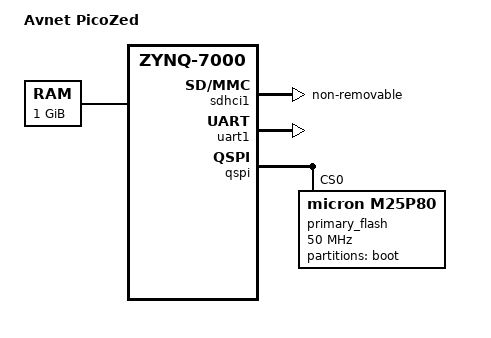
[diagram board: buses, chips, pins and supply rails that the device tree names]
/dts-v1/;
/include/ "zynq-7000.dtsi"

/ {
	model = "Avnet PicoZed";
	compatible = "avnet,picozed", "xlnx,zynq-7000";

	aliases {
		serial0 = &uart1;
	};

	memory@0 {
		device_type = "memory";
		reg = <0x0 0x40000000>;
	};

	chosen {
		bootargs = "earlyprintk";
		stdout-path = "serial0:115200n8";
	};

};

&sdhci1 {
	status = "okay";
	/* SD1 is onnected to a non-removable eMMC flash device */
	non-removable;
};

&uart1 {
	status = "okay";
};


&qspi {
	status = "okay";
	primary_flash: ps7-qspi@0 {
		#address-cells = <1>;
		#size-cells = <1>;
		compatible = "micron,m25p80", "spansion,    ", "jedec,spi-nor";
		reg = <0x0>;
		spi-max-frequency = <50000000>;
		/* Example 16M partition table using U-Boot + U-Boot SPL */
		partition@0 {
			label = "boot";
			reg = <0x0 0x800000>;
		};
	};
}; 
